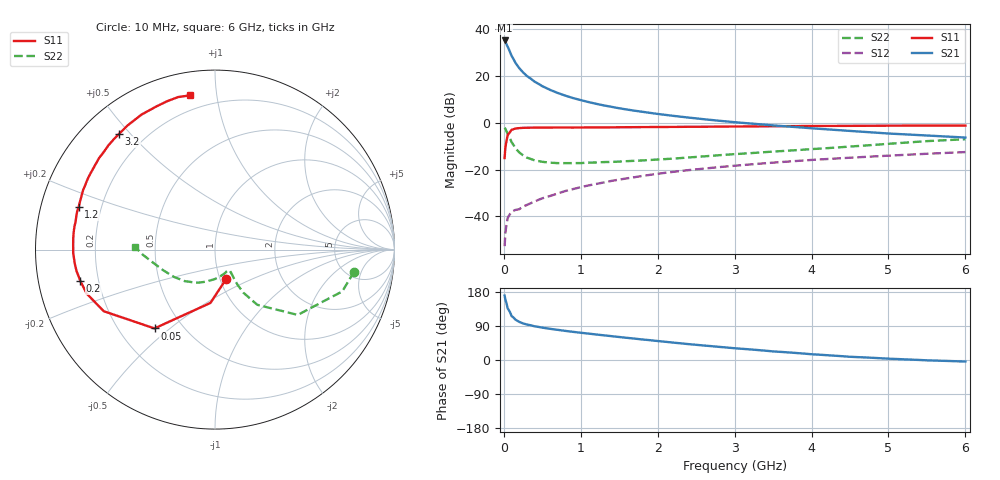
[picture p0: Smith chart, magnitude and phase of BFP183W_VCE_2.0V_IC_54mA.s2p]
! Infineon Technologies  Discrete & RF Semiconductors
! BFP183W
! VCE =  2.0 V,  IC =  54 mA
! Common Emitter S-Parameters:  Jan 2017
# GHz  S  MA  R  50
!  f  S11  S21  S12  S22
! GHz  MAG  ANG  MAG  ANG  MAG  ANG  MAG  ANG
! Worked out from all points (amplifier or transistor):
!   77 points, 10 MHz to 6 GHz, reference 50 ohm
!   highest |S21| = 35.2 dB at 10 MHz (marker M1)
!   |S21| within 3 dB of that: start of sweep to 54.58 MHz
!   unconditionally stable (mu >= 1): start of sweep to 14.21 MHz; 296.4 MHz to end of sweep
!   at 130 MHz: K = 0.61, MSG = 32.3 dB, |S12| = -37.6 dB
!   at 2.2 GHz: K = 1.28, MAG = 8.8 dB, |S12| = -21.0 dB
!   at 6 GHz: K = 1.07, MAG = 1.4 dB, |S12| = -12.5 dB
!   S11 on the Smith chart (normalised r, x): 10 MHz: 1.07, -0.36; 50 MHz: 0.35, -0.44; 200 MHz: 0.13, -0.11; 1.2 GHz: 0.12, +0.15; 3.2 GHz: 0.11, +0.47; 6 GHz: 0.12, +0.84
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0.01  0.1763 -69.7  57.75 170.0  0.0023 87.1  0.7849 -9.0
0.02  0.2983 -94.9  54.91 159.3  0.0044 74.7  0.7463 -18.2
0.05  0.5535 -127.5  42.45 136.0  0.0092 51.1  0.5874 -38.3
0.1  0.7083 -151.0  27.2 116.0  0.0125 45.4  0.3877 -52.5
0.15  0.7562 -161.1  19.3 106.6  0.0137 41.9  0.2867 -56.7
0.2  0.7705 -167.0  14.78 100.6  0.0142 44.6  0.2332 -57.3
0.25  0.7809 -171.3  11.98 96.5  0.0162 46.3  0.2016 -57.0
0.3  0.7851 -174.3  10.02 93.6  0.0175 47.5  0.1802 -56.3
0.4  0.7902 -178.6  7.588 88.9  0.0207 54.3  0.1573 -55.3
0.5  0.7907 178.1  6.079 85.4  0.0243 57.4  0.1466 -55.0
0.6  0.7924 175.4  5.079 82.3  0.0272 60.7  0.1405 -55.6
0.7  0.7932 173.0  4.353 79.6  0.0308 63.0  0.1374 -56.6
0.9  0.7923 168.7  3.382 74.3  0.0383 65.9  0.1374 -60.3
1.1  0.7969 164.7  2.782 69.7  0.0458 67.2  0.1407 -64.6
1.2  0.7956 162.7  2.551 67.3  0.0492 67.5  0.1419 -67.1
1.6  0.8062 155.7  1.925 58.5  0.0649 67.5  0.1514 -78.0
2.1  0.8149 146.6  1.479 48.1  0.0853 65.7  0.1677 -93.9
3.1  0.8354 131.1  1 29.5  0.1247 59.8  0.2189 -123.6
3.2  0.8372 129.7  0.969 28.0  0.1287 59.1  0.2242 -126.3
4.1  0.8566 117.4  0.745 14.0  0.1644 52.5  0.2802 -148.8
5.1  0.8694 107.0  0.579 2.7  0.2022 44.7  0.365 -170.3
6  0.8704 99.2  0.484 -4.1  0.2369 37.2  0.4459 178.0
